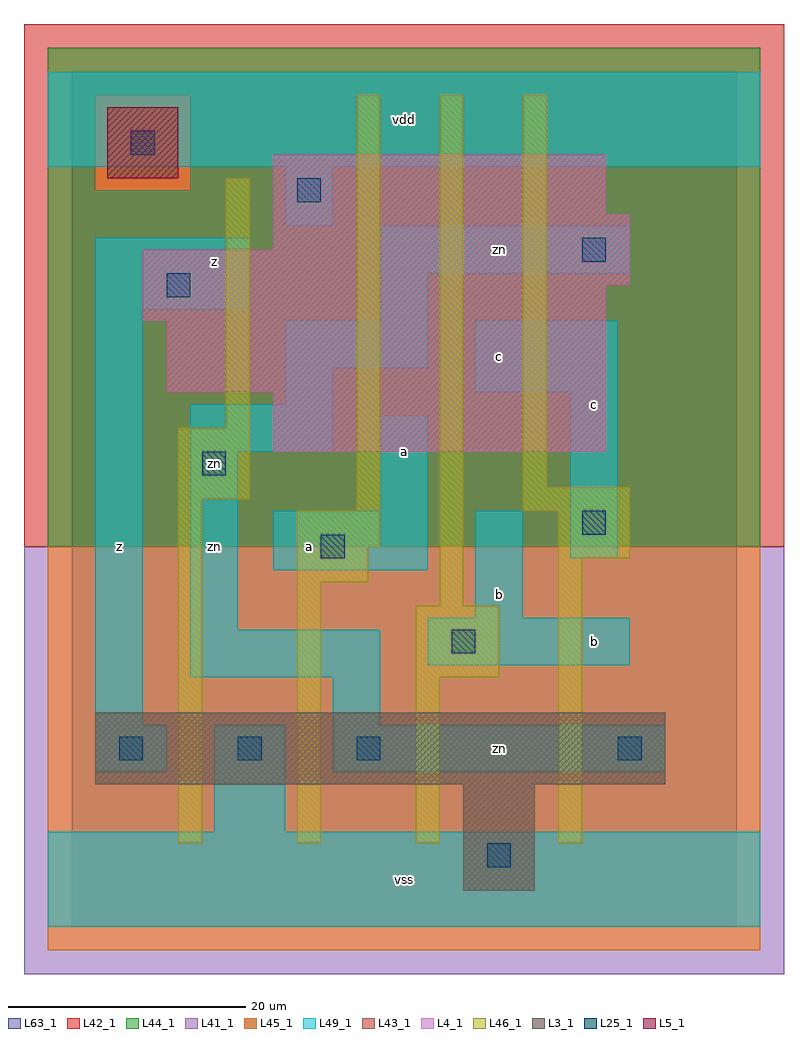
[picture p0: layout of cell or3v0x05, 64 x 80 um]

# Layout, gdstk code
import gdstk
lib = gdstk.Library(unit=1e-6, precision=1e-09)
def R(c, l, rs):  # rectangles x0, y0, x1, y1
    for r in rs: c.add(gdstk.rectangle(r[:2], r[2:], *l))
def A(c, l, x, y, w, h, nx, ny, dx, dy):  # array of equal rectangles
    R(c, l, [(x+i*dx, y+j*dy, x+i*dx+w, y+j*dy+h) for i in range(nx) for j in range(ny)])
L3_1 = (3, 1)
L4_1 = (4, 1)
L5_1 = (5, 1)
L25_1 = (25, 1)
L41_1 = (41, 1)
L42_1 = (42, 1)
L43_1 = (43, 1)
L44_1 = (44, 1)
L45_1 = (45, 1)
L46_1 = (46, 1)
L49_1 = (49, 1)
L63_1 = (63, 1)

or3v0x05 = lib.new_cell('or3v0x05')
R(or3v0x05, L3_1, [(33,3,39,12), (2,12,50,18)])
R(or3v0x05, L4_1, [(17,40,45,45), (8,45,45,51), (6,51,45,54), (6,54,47,57), (17,57,47,60), (17,60,45,65)])
R(or3v0x05, L5_1, [(3,63,9,69)])
A(or3v0x05, L25_1, 4, 14, 2, 2, 3, 1, 10, 0)
R(or3v0x05, L25_1, [(35,5,37,7), (46,14,48,16), (32,23,34,25), (21,31,23,33), (43,33,45,35), (11,38,13,40), (8,53,10,55), (43,56,45,58), (19,61,21,63), (5,65,7,67)])
R(or3v0x05, L41_1, [(-4,-4,60,32)])
R(or3v0x05, L42_1, [(-4,32,60,76)])
R(or3v0x05, L43_1, [(33,3,39,12), (2,12,50,18), (17,40,45,45), (8,45,45,51), (6,51,45,54), (6,54,47,57), (17,57,47,60), (17,60,45,65), (3,63,9,69)])
R(or3v0x05, L44_1, [(-2,32,58,62), (-2,62,2,70), (10,62,58,70), (-2,70,58,74)])
R(or3v0x05, L45_1, [(-2,-2,58,32), (2,62,10,70)])
R(or3v0x05, L46_1, [(9,7,11,36), (19,7,21,29), (29,7,31,21), (41,7,43,31), (29,21,36,27), (31,27,33,70), (19,29,25,32), (41,31,47,35), (19,32,26,35), (24,35,26,70), (38,35,47,37), (9,36,15,42), (38,37,40,70), (13,42,15,63)])
R(or3v0x05, L49_1, [(-2,0,58,8), (12,8,18,17), (2,13,8,17), (22,13,50,17), (2,17,6,52), (22,17,26,21), (10,21,26,25), (30,22,47,26), (10,25,14,40), (34,26,38,35), (17,30,30,35), (42,31,46,45), (26,35,30,43), (10,40,22,44), (18,44,22,47), (34,45,46,51), (18,47,30,51), (26,51,30,55), (2,52,15,58), (26,55,47,59), (18,59,22,64), (-2,64,58,72)])
R(or3v0x05, L63_1, [(0,0,56,72)])
or3v0x05.add(gdstk.Label('zn', (12,39), layer=49, texttype=1))
or3v0x05.add(gdstk.Label('z', (4,32), layer=49, texttype=1))
or3v0x05.add(gdstk.Label('a', (20,32), layer=49, texttype=1))
or3v0x05.add(gdstk.Label('zn', (12,32), layer=49, texttype=1))
or3v0x05.add(gdstk.Label('z', (12,56), layer=49, texttype=1))
or3v0x05.add(gdstk.Label('vss', (28,4), layer=49, texttype=1))
or3v0x05.add(gdstk.Label('b', (36,28), layer=49, texttype=1))
or3v0x05.add(gdstk.Label('a', (28,40), layer=49, texttype=1))
or3v0x05.add(gdstk.Label('c', (36,48), layer=49, texttype=1))
or3v0x05.add(gdstk.Label('vdd', (28,68), layer=49, texttype=1))
or3v0x05.add(gdstk.Label('zn', (36,15), layer=49, texttype=1))
or3v0x05.add(gdstk.Label('b', (44,24), layer=49, texttype=1))
or3v0x05.add(gdstk.Label('c', (44,44), layer=49, texttype=1))
or3v0x05.add(gdstk.Label('zn', (36,57), layer=49, texttype=1))

lib.write_gds('or3v0x05.gds')
